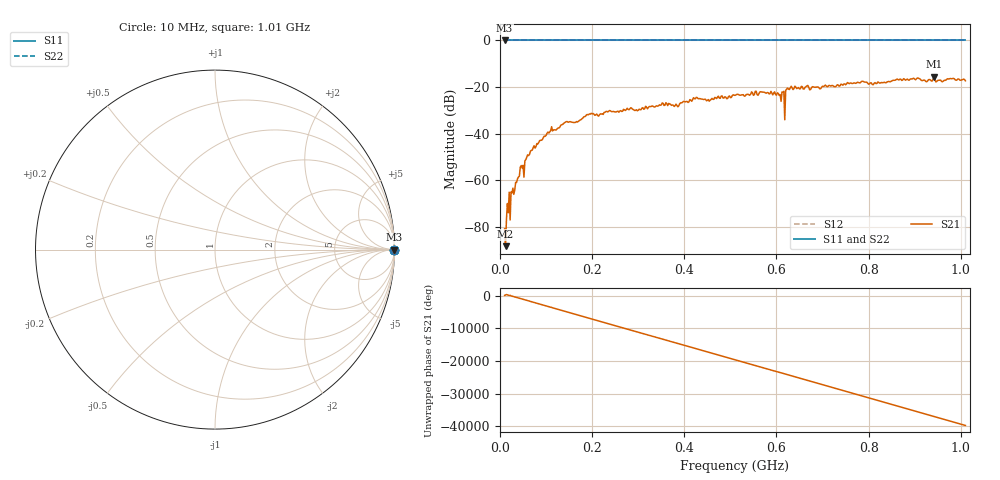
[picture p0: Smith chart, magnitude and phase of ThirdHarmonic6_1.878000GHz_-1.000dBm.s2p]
! 8/16/2025 10:41:40 PM
! C:\ANRITSUVNA\TEMP\TEMP.S2P
! CHANNEL.1
! TR.MEASUREMENT
! RAW.DATA
! RF.CORRECTION.OFF
! AVERAGING.OFF
! IF.BANDWIDTH: 5KHZ
! SWEEPTYPE:  FREQ.SWEEP(Linear)
! Reference Plane Port Info
! PORT:  PORT1  PORT2
! DISTANCE:  0  m  0  m
! TIME:  0  s  0  s
! PHASE.OFFSET:  0  deg.  0  deg.
! LOSS:  0  dB  0  dB
! REF.LOSS:  0  dB  0  dB
! REF.FREQ:  0  Hz  0  Hz
! Power Info
! POWER:  -20  dBm  -20  dBm
! EFF.POWER:  -20  dBm  -20  dBm
! SOURCE.ATTEN:  0  dB  0  dB
! TEST.ATTEN:  0  dB  0  dB
# GHZ S RI R 50.0
! FREQ.GHZ  S11RE  S11IM  S21RE  S21IM  S12RE  S12IM  S22RE  S22IM
!; PortSelection: Port_12
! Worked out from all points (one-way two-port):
!   501 points, 10 MHz to 1.01 GHz, reference 50 ohm
!   highest |S21| = -15.58 dB at 942 MHz (marker M1); lowest = -88.2 dB at 12 MHz (marker M2)
!   lowest |S11| = 0.0 dB at 10 MHz (marker M3)
!   |S11| at or under -10 dB: nowhere
!   |S22| runs from 0.0 to 0.0 dB; largest |S21 - S12| = 1.2
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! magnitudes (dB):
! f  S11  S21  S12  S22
! 10 MHz  0.0  -80.7  0.0  0.0
! 12 MHz  0.0  -88.2  0.0  0.0
! 24 MHz  0.0  -64.9  0.0  0.0
! 26 MHz  0.0  -65.4  0.0  0.0
! 28 MHz  0.0  -63.3  0.0  0.0
! 42 MHz  0.0  -58.2  0.0  0.0
! 70 MHz  0.0  -47.0  0.0  0.0
! 108 MHz  0.0  -39.2  0.0  0.0
! 142 MHz  0.0  -35.0  0.0  0.0
! 178 MHz  0.0  -33.5  0.0  0.0
! 198 MHz  0.0  -31.2  0.0  0.0
! 344 MHz  0.0  -28.0  0.0  0.0
! 382 MHz  0.0  -27.3  0.0  0.0
! 510 MHz  0.0  -23.5  0.0  0.0
! 592 MHz  0.0  -23.3  0.0  0.0
! 612 MHz  0.0  -22.1  0.0  0.0
! 614 MHz  0.0  -22.2  0.0  0.0
! 628 MHz  0.0  -21.0  0.0  0.0
! 678 MHz  0.0  -19.8  0.0  0.0
! 844 MHz  0.0  -17.6  0.0  0.0
! 942 MHz  0.0  -15.6  0.0  0.0
! 1.01 GHz  0.0  -17.3  0.0  0.0
